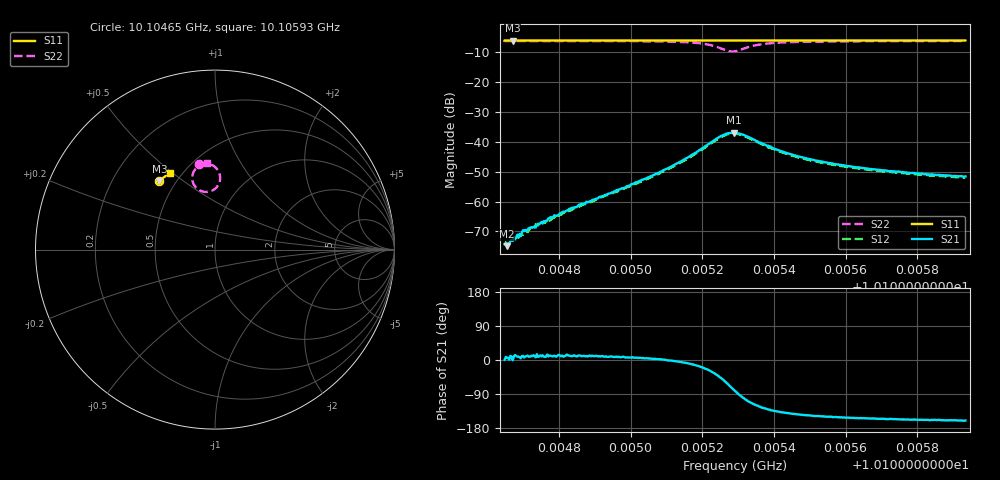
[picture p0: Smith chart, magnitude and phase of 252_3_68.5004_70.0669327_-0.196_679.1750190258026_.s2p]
#  HZ  S  RI  R  50.00
! Rohde & Schwarz Vector Network Analyzer
! Rohde-Schwarz,ZNB20-2Port,1311601062101988,3.16
! Created: UTC 3/20/2024, 5:15:01 PM
! freq[Hz]  re:S11  im:S11  re:S21  im:S21  re:S12  im:S12  re:S22  im:S22
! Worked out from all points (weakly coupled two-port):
!   401 points, 10.10465 GHz to 10.10593 GHz, reference 50 ohm
!   highest |S21| = -36.99 dB at 10.10529 GHz (marker M1); lowest = -74.9 dB at 10.10465 GHz (marker M2)
!   lowest |S11| = -6.2 dB at 10.10467 GHz (marker M3), VSWR 2.94, Z = 20.3 + j20.6 ohm
!   |S11| at or under -10 dB: nowhere
!   |S22| runs from -9.8 to -6.3 dB; largest |S21 - S12| = 0.0017
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1.0104648e10  -0.3108 0.3821  0.000195 1.43e-06  0.000179 4.34e-05  -0.0913 0.4761
1.0104655e10  -0.3104 0.3824  0.000178 2.06e-05  0.000193 1.31e-05  -0.0906 0.4761
1.0104671e10  -0.3096 0.3829  0.00022 -3.56e-06  0.000216 4.49e-05  -0.0891 0.4764
1.0104693e10  -0.3086 0.384  0.000263 2.06e-05  0.000255 7.99e-05  -0.0872 0.4769
1.0104703e10  -0.3081 0.3845  0.000318 3.61e-05  0.000287 9.77e-05  -0.0864 0.477
1.0104742e10  -0.3063 0.386  0.000422 6e-05  0.000375 0.000133  -0.0827 0.4776
1.010478e10  -0.3047 0.3874  0.000519 9.21e-05  0.000501 0.00015  -0.079 0.4782
1.0104864e10  -0.3006 0.3907  0.000913 0.000164  0.000832 0.000232  -0.0696 0.4792
1.0104986e10  -0.2948 0.3955  0.00172 0.000196  0.00165 0.000354  -0.0522 0.4796
1.0105079e10  -0.2902 0.3992  0.00306 0.00012  0.0029 0.000362  -0.032 0.4765
1.010516e10  -0.2862 0.4021  0.00541 -0.00082  0.0052 -0.000302  -0.00266 0.4624
1.0105234e10  -0.2823 0.4045  0.00874 -0.0061  0.0089 -0.00495  0.0287 0.3978
1.0105266e10  -0.2807 0.4051  0.00714 -0.0115  0.00781 -0.0103  0.0018 0.3404
1.0105288e10  -0.28 0.4056  0.00271 -0.0139  0.00418 -0.0131  -0.0497 0.3213
1.0105291e10  -0.2799 0.4057  0.00205 -0.0139  0.00336 -0.0132  -0.0578 0.3218
1.0105327e10  -0.2787 0.4072  -0.00381 -0.0115  -0.00257 -0.0114  -0.1174 0.3617
1.0105372e10  -0.2767 0.4091  -0.0055 -0.0073  -0.00462 -0.00745  -0.1254 0.4148
1.0105433e10  -0.2738 0.4116  -0.00501 -0.00428  -0.00446 -0.0045  -0.1097 0.4482
1.0105507e10  -0.27 0.4142  -0.00422 -0.00271  -0.00381 -0.00299  -0.0927 0.4642
1.0105603e10  -0.2652 0.4178  -0.0035 -0.00183  -0.0032 -0.00203  -0.0767 0.4734
1.0105722e10  -0.2593 0.4218  -0.00294 -0.00134  -0.00273 -0.00152  -0.0621 0.4789
1.0105934e10  -0.2486 0.4289  -0.00247 -0.000916  -0.00227 -0.00109  -0.042 0.4836
